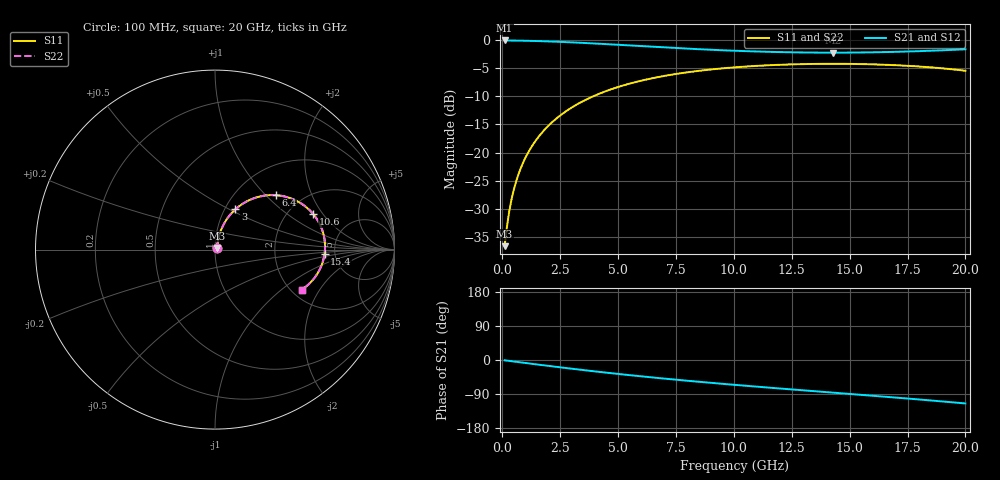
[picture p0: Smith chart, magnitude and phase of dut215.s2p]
! Touchstone file exported from HFSS 2026.1.0
!  File:  C:/ffzhzh/LocalFiles/Ansys_Project_Files/temp_train_TSV_RDL_215_1783062267_46780.aedt
!  Generated:  03:14:50 PM Jul  3, 2026
!  Design:  TSV_RDL
!  Project:  temp_train_TSV_RDL_215_1783062267_46780
! Variables:
!  h_bsmrdl = 2.08um
!  h_ox = 20um
!  h_rdl = 5um
!  h_sub = 50.81um
!  h_tmrdl = 5.99um
!  h_tsv = 50.81um
!  h_via = 3um
!  l_bsmrdl = 199.22um
!  l_sub = 2184.5um
!  l_tmrdl = 267.7um
!  m_sub = 200um
!  pitch = 53.14um
!  r_tsv = 5.75um
!  s_tmrdl = 10um
!  w_bsmrdl = 27.69um
!  w_sub = 500um
!  w_tmrdl = 10.99um
!  x_tsv_center1 = 273.195um
!  x_tsv_center2 = 500.105um
!  x_tsv_center3 = 778.795um
!  x_tsv_center4 = 1005.705um
!  x_tsv_center5 = 1284.395um
!  x_tsv_center6 = 1511.305um
# GHz S MA R 50.000000
! Terminal data exported
! Port[1] = TM_RDL1_1_T1
! Port[2] = TM_RDL5_1_T1
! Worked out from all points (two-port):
!   200 points, 100 MHz to 20 GHz, reference 50 ohm
!   highest |S21| = -0.10 dB at 100 MHz (marker M1); lowest = -2.3 dB at 14.3 GHz (marker M2)
!   |S21| within 3 dB of the highest: start of sweep to end of sweep
!   lowest |S11| = -36.6 dB at 100 MHz (marker M3), VSWR 1.03, Z = 51.2 + j0.937 ohm
!   |S11| at or under -10 dB: start of sweep to 3.926 GHz
!   |S22| runs from -36.6 to -4.2 dB; largest |S21 - S12| = 2.8e-14
!   S11 on the Smith chart (normalised r, x): 100 MHz: 1.02, +0.02; 3 GHz: 1.12, +0.54; 6.4 GHz: 1.49, +1.14; 10.6 GHz: 2.71, +1.62; 15.4 GHz: 4.11, -0.34; 20 GHz: 2.26, -1.41
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0.1  0.01483 38.1  0.9884 -0.8  0.9884 -0.8  0.01483 38.1
! Gamma 0 0 0 0
! Port Impedance 50 0 50 0
0.2  0.02196 56.0  0.9881 -1.6  0.9881 -1.6  0.02196 56.0
0.3  0.03017 64.1  0.9876 -2.4  0.9876 -2.4  0.03017 64.1
0.4  0.03867 68.2  0.987 -3.2  0.987 -3.2  0.03867 68.2
0.5  0.04726 70.5  0.9864 -4.0  0.9864 -4.0  0.04726 70.5
0.7  0.06449 72.7  0.985 -5.6  0.985 -5.6  0.06449 72.7
1  0.09027 73.4  0.9824 -7.9  0.9824 -7.9  0.09028 73.4
1.4  0.1243 72.4  0.9781 -11.0  0.9781 -11.0  0.1243 72.4
1.8  0.1576 70.5  0.9727 -14.1  0.9727 -14.1  0.1576 70.5
2.4  0.2059 67.0  0.9628 -18.6  0.9628 -18.6  0.2059 67.0
3  0.2515 63.1  0.9511 -23.0  0.9511 -23.0  0.2515 63.1
3.5  0.2874 59.9  0.9403 -26.6  0.9403 -26.6  0.2874 59.9
4.8  0.3707 51.6  0.9098 -35.5  0.9098 -35.5  0.3707 51.6
6.4  0.4535 42.0  0.8713 -45.5  0.8713 -45.5  0.4535 42.0
6.8  0.471 39.7  0.8621 -47.9  0.8621 -47.9  0.471 39.7
10.1  0.5725 22.3  0.8001 -65.9  0.8001 -65.9  0.5725 22.3
10.6  0.582 19.9  0.7935 -68.4  0.7935 -68.4  0.582 19.9
13.4  0.6119 6.7  0.772 -82.0  0.772 -82.0  0.6119 6.7
14.3  0.6137 2.6  0.7707 -86.2  0.7707 -86.2  0.6137 2.6
15.4  0.6108 -2.4  0.773 -91.4  0.773 -91.4  0.6108 -2.4
16.7  0.6001 -8.5  0.7809 -97.7  0.7809 -97.7  0.6 -8.5
20  0.5326 -24.8  0.8254 -114.7  0.8254 -114.7  0.5326 -24.8
